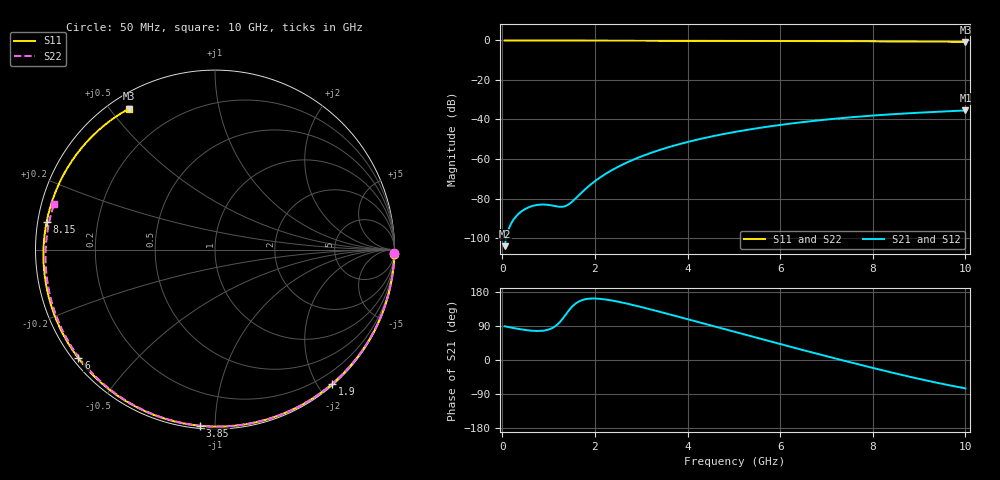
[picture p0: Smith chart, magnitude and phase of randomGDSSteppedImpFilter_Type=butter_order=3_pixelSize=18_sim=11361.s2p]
! freq	dB(S11)	phase(S11)	dB(S12)	phase(S12)
!  dB(S21)	phase(S21)	dB(S22)	phase(S22)
!S-par simulation data
#  GHz  S  DB  R 50
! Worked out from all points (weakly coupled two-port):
!   200 points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, 50 MHz to 10 GHz, reference 50 ohm
!   highest |S21| = -35.42 dB at 10 GHz (marker M1); lowest = -104.1 dB at 50 MHz (marker M2)
!   lowest |S11| = -0.7 dB at 10 GHz (marker M3), VSWR 23.96, Z = 2.74 + j28 ohm
!   |S11| at or under -10 dB: nowhere
!   |S22| runs from -0.6 to 0.0 dB; largest |S21 - S12| = 0
!   S11 on the Smith chart (normalised r, x): 50 MHz: 0, -86; 1.9 GHz: 0.02, -2.20; 3.85 GHz: 0.01, -0.92; 6 GHz: 0.02, -0.35; 8.15 GHz: 0.03, +0.08; 10 GHz: 0.05, +0.56
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0.05  -0.00 -1.3  -104.11 89.0  -104.11 89.0  -0.00 -1.1
0.75  -0.03 -19.6  -83.27 76.6  -83.27 76.6  -0.02 -16.9
1.55  -0.05 -40.1  -80.70 145.7  -80.70 145.7  -0.04 -34.5
1.6  -0.05 -41.3  -79.57 150.5  -79.57 150.5  -0.05 -35.6
1.75  -0.06 -45.1  -76.17 159.1  -76.17 159.1  -0.05 -38.9
1.9  -0.06 -48.8  -73.08 162.1  -73.08 162.1  -0.05 -42.1
2.2  -0.07 -56.2  -67.99 160.2  -67.99 160.2  -0.06 -48.5
2.55  -0.08 -64.7  -63.36 152.6  -63.36 152.6  -0.07 -55.9
2.95  -0.10 -74.1  -59.18 141.3  -59.18 141.3  -0.08 -64.1
3.4  -0.11 -84.6  -55.40 127.3  -55.40 127.3  -0.10 -73.2
3.85  -0.13 -94.8  -52.31 112.6  -52.31 112.6  -0.11 -82.1
4.45  -0.15 -108.1  -48.93 92.8  -48.93 92.8  -0.13 -93.7
5.05  -0.18 -121.2  -46.19 73.0  -46.19 73.0  -0.16 -104.9
6  -0.24 -141.5  -42.76 42.0  -42.76 42.0  -0.21 -122.2
6.7  -0.30 -156.6  -40.77 19.6  -40.77 19.6  -0.26 -134.7
7.45  -0.36 -173.2  -39.04 -4.0  -39.04 -4.0  -0.32 -148.0
8.15  -0.44 170.6  -37.76 -25.4  -37.76 -25.4  -0.39 -160.6
8.35  -0.46 165.8  -37.45 -31.3  -37.45 -31.3  -0.41 -164.2
8.8  -0.52 154.6  -36.82 -44.3  -36.82 -44.3  -0.46 -172.5
9.2  -0.58 144.1  -36.32 -55.2  -36.32 -55.2  -0.51 180.0
9.6  -0.65 133.1  -35.87 -65.4  -35.87 -65.4  -0.56 172.2
10  -0.73 121.4  -35.42 -74.8  -35.42 -74.8  -0.61 164.3
